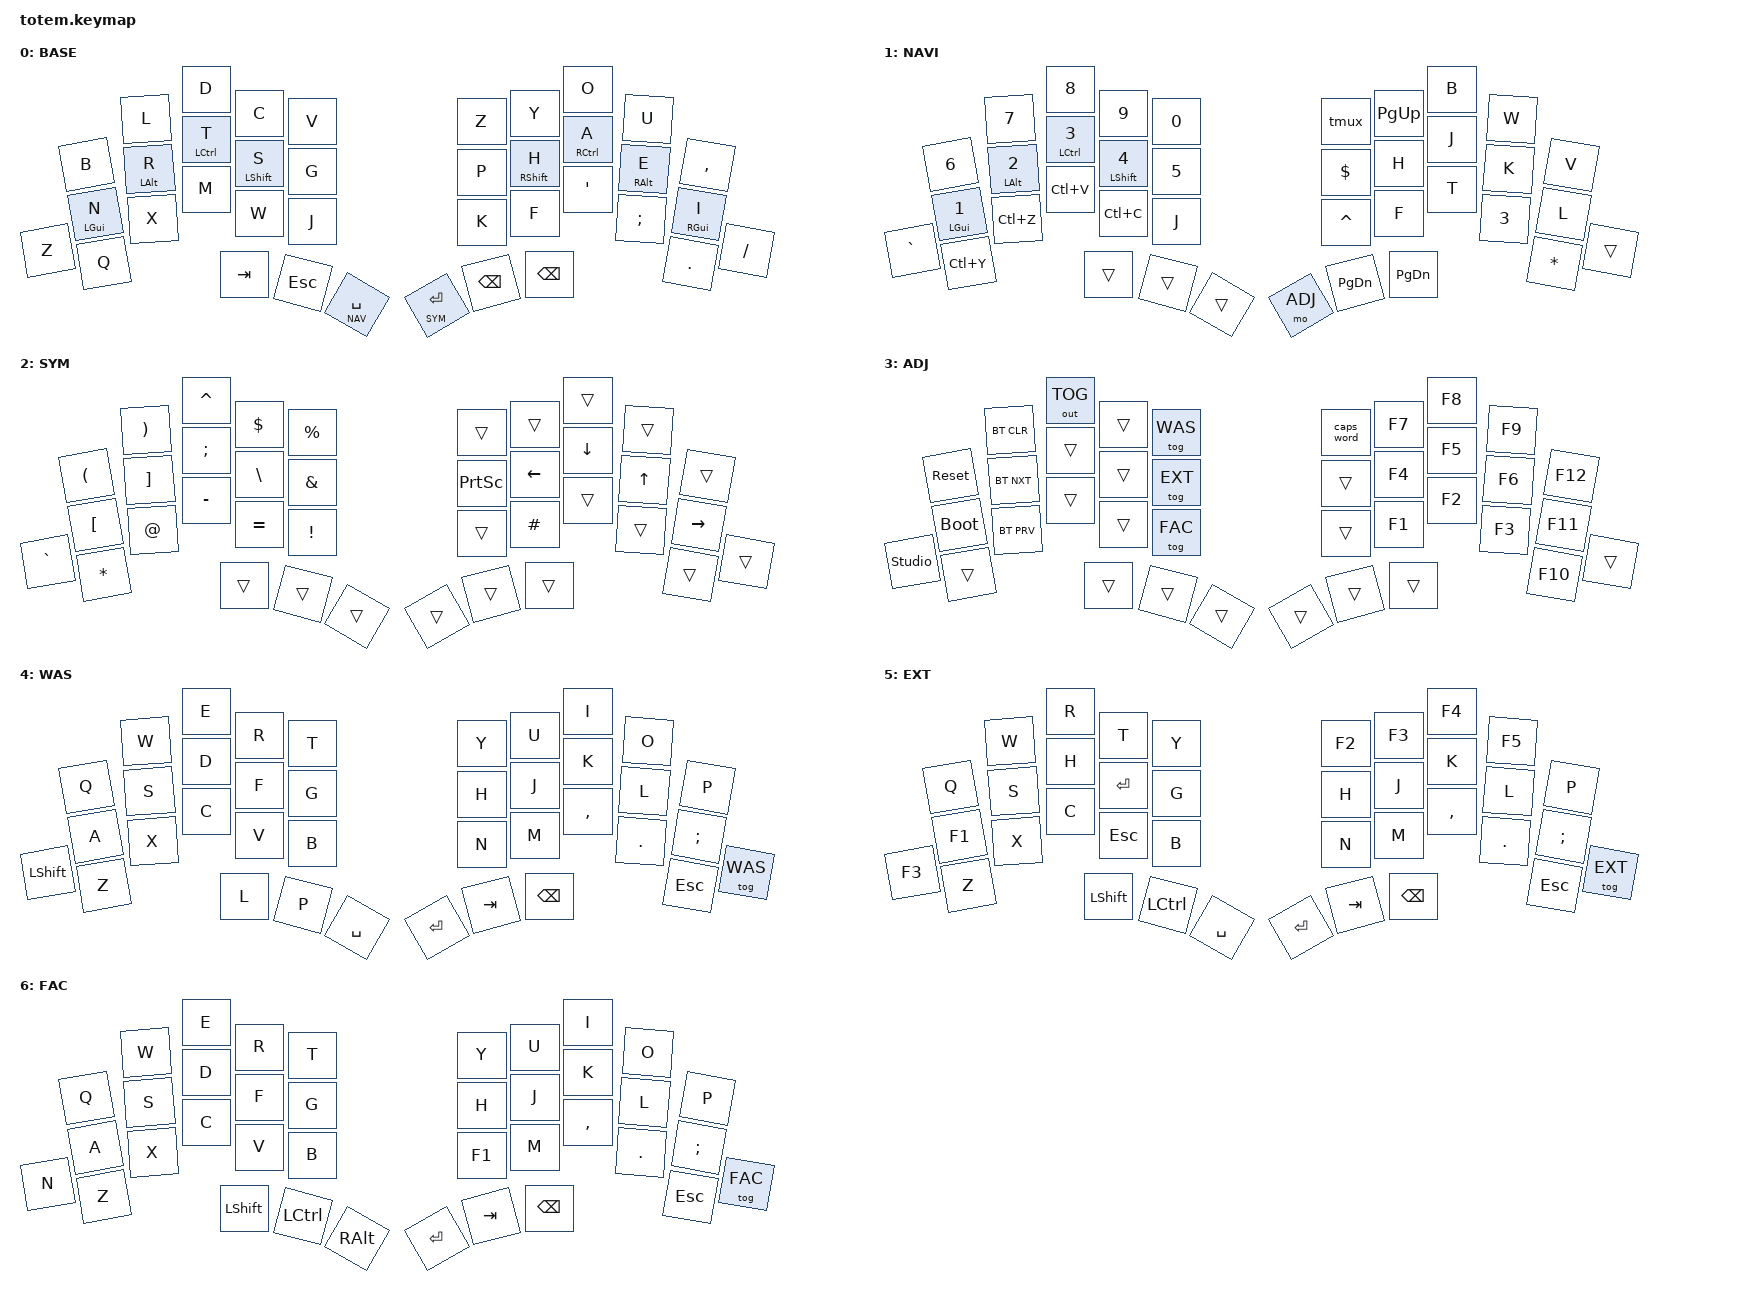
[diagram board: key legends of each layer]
//
//                                                        ▀▀▀▀▀     ▀▀▀▀▀          ▀▀█▀▀
//                                                        ▄▀▀▀▄  ▄  ▄▀▀▀▄  ▄  ▄▀▀▀▄  █  ▄▀▀▀▄
//                                                        █   █  █  █   █  █  █   █  █  █   █
//                                                         ▀▀▀   █   ▀▀▀   █   ▀▀▀   ▀   ▀▀▀
//                                                               █      ▄▄▄█▄▄▄    █   █  
//                                                               ▀      █  █  █     █▄█
//                                                             ▀▀▀▀▀    █  █  █      ▀
//                                                                      ▀  ▀  ▀
//
// ▄▄▄▄▄▄▄▄▄▄▄▄▄▄▄▄▄▄▄▄▄▄▄▄▄▄▄▄▄▄▄▄▄▄▄▄▄▄▄▄▄▄▄▄▄▄▄▄▄▄▄▄▄▄▄▄▄▄▄▄▄▄▄▄▄▄▄▄▄▄▄▄▄▄▄▄▄▄▄▄▄▄▄▄▄▄▄▄▄▄▄▄▄▄▄▄▄▄▄▄▄▄▄▄▄▄▄▄▄▄▄▄▄▄▄▄▄▄▄▄▄▄▄▄▄▄▄▄▄▄▄▄▄▄▄▄▄▄▄▄▄▄▄▄▄▄▄▄▄
       

#include <behaviors.dtsi>
#include <dt-bindings/zmk/keys.h>
#include <dt-bindings/zmk/bt.h>
#include <dt-bindings/zmk/outputs.h>

#define BASE 0
#define NAV  1
#define SYM  2
#define ADJ  3
#define WAS  4
#define EXT  5
#define FAC  6

#define KEYS_L 0 1 2 3 4 10 11 12 13 14 20 21 22 23 24 25
#define KEYS_R 5 6 7 8 9 15 16 17 18 19 26 27 28 29 30 31
#define THUMBS 32 33 34 35 36 37

/* &mt { */
/*   quick-tap-ms = <100>; */
/*   global-quick-tap; */
/*   flavor = "tap-preferred"; */
/*   tapping-term-ms = <170>; */
/* }; */

/ {
    behaviors {
        hml: home_row_mod_left {
            compatible = "zmk,behavior-hold-tap";
            #binding-cells = <2>;
            flavor = "balanced";
            require-prior-idle-ms = <150>;
            tapping-term-ms = <280>;
            quick-tap-ms = <175>;
            bindings = <&kp>, <&kp>;
            hold-trigger-key-positions = <KEYS_L THUMBS>;
            hold-trigger-on-release;
        };
        hmr: home_row_mod_right {
            compatible = "zmk,behavior-hold-tap";
            #binding-cells = <2>;
            flavor = "balanced";
            require-prior-idle-ms = <150>;
            tapping-term-ms = <280>;
            quick-tap-ms = <175>;
            bindings = <&kp>, <&kp>;
            hold-trigger-key-positions = <KEYS_R THUMBS>;
            hold-trigger-on-release;
        };
    };
    combos {

            combo_esc {
                timeout-ms = <50>;
                key-positions = <0 1>;
                bindings = <&kp ESC>;
            };
    };

    macros {
        tmux: tmux {
            label = "tmux";
            compatible = "zmk,behavior-macro";
            #binding-cells = <0>;
            bindings = <&kp LC(N)>;
        };
    };

        keymap {
                compatible = "zmk,keymap";
// ▄▄▄▄▄▄▄▄▄▄▄▄▄▄▄▄▄▄▄▄▄▄▄▄▄▄▄▄▄▄▄▄▄▄▄▄▄▄▄▄▄▄▄▄▄▄▄▄▄▄▄▄▄▄▄▄▄▄▄▄▄▄▄▄▄▄▄▄▄▄▄▄▄▄▄▄▄▄▄▄▄▄▄▄▄▄▄▄▄▄▄▄▄▄▄▄▄▄▄▄▄▄▄▄▄▄▄▄▄▄▄▄▄▄▄▄▄▄▄▄▄▄▄▄▄▄▄▄▄▄▄▄▄▄▄▄▄▄▄▄▄▄▄▄▄▄▄▄▄

                base_layer {
// ┏━━━━━━━━━━━━━━━━━━━━━━━━━━━━━━━━━━━━━━━┓
label= "BASE"                              ;
// ┗━━━━━━━━━━━━━━━━━━━━━━━━━━━━━━━━━━━━━━━┛
//             ┏━━━━━━━━━━━┳━━━━━━━━━━━┳━━━━━━━━━━━┳━━━━━━━━━━━┳━━━━━━━━━━━┓   ┏━━━━━━━━━━━┳━━━━━━━━━━━┳━━━━━━━━━━━┳━━━━━━━━━━━┳━━━━━━━━━━━┓
//             ┃     b     ┃     l     ┃     d     ┃     c     ┃     v     ┃   ┃     Z     ┃     Y     ┃     O     ┃     u     ┃     ,     ┃
//             ┣━━━━━━━━━━━╋━━━━━━━━━━━╋━━━━━━━━━━━╋━━━━━━━━━━━╋━━━━━━━━━━━┫   ┣━━━━━━━━━━━╋━━━━━━━━━━━╋━━━━━━━━━━━╋━━━━━━━━━━━╋━━━━━━━━━━━┫
//             ┃     n     ┃     t     ┃     t     ┃     s     ┃     g     ┃   ┃     P     ┃     H     ┃     A     ┃     E     ┃     i     ┃
// ┏━━━━━━━━━━━╋━━━━━━━━━━━╋━━━━━━━━━━━╋━━━━━━━━━━━╋━━━━━━━━━━━╋━━━━━━━━━━━┫   ┣━━━━━━━━━━━╋━━━━━━━━━━━╋━━━━━━━━━━━╋━━━━━━━━━━━╋━━━━━━━━━━━╋━━━━━━━━━━━┓
// ┃     Z     ┃     q     ┃     m     ┃     m     ┃     w     ┃     j     ┃   ┃     K     ┃     F     ┃     '     ┃     ;     ┃     .     ┃      /    ┃
// ┗━━━━━━━━━━━┻━━━━━━━━━━━┻━━━━━━━━━━━╋━━━━━━━━━━━╋━━━━━━━━━━━╋━━━━━━━━━━━┫   ┣━━━━━━━━━━━╋━━━━━━━━━━━╋━━━━━━━━━━━╋━━━━━━━━━━━┻━━━━━━━━━━━┻━━━━━━━━━━━┛
//                                     ┃    TAB    ┃    ESC    ┃    SPC    ┃   ┃   ENTER   ┃   BSPC    ┃           ┃
//                                     ┗━━━━━━━━━━━┻━━━━━━━━━━━┻━━━━━━━━━━━┛   ┗━━━━━━━━━━━┻━━━━━━━━━━━┻━━━━━━━━━━━┛
 bindings = <
// ╷           ╷           ╷           ╷           ╷           ╷           ╷   ╷           ╷           ╷           ╷           ╷           ╷           ╷

                &kp B       &kp L       &kp D       &kp C       &kp V           &kp Z       &kp Y       &kp O       &kp U       &kp COMMA
                &hml LGUI N  &hml LALT R  &hml LCTRL T &hml LSHFT S &kp G           &kp P       &hmr RSHFT H &hmr RCTRL A &hmr RALT E  &hmr RGUI I
    &kp Z       &kp Q       &kp X       &kp M       &kp W       &kp J           &kp K       &kp F       &kp SQT     &kp SEMI    &kp DOT    &kp FSLH
                                        &kp TAB     &kp ESC     &lt NAV SPACE   &lt SYM RET &kp BSPC    &kp BSPC
                        >;
                };

// ▄▄▄▄▄▄▄▄▄▄▄▄▄▄▄▄▄▄▄▄▄▄▄▄▄▄▄▄▄▄▄▄▄▄▄▄▄▄▄▄▄▄▄▄▄▄▄▄▄▄▄▄▄▄▄▄▄▄▄▄▄▄▄▄▄▄▄▄▄▄▄▄▄▄▄▄▄▄▄▄▄▄▄▄▄▄▄▄▄▄▄▄▄▄▄▄▄▄▄▄▄▄▄▄▄▄▄▄▄▄▄▄▄▄▄▄▄▄▄▄▄▄▄▄▄▄▄▄▄▄▄▄▄▄▄▄▄▄▄▄▄▄▄▄▄▄▄▄▄


                nav_layer {
// ┏━━━━━━━━━━━━━━━━━━━━━━━━━━━━━━━━━━━━━━━┓
label= "NAVI"                              ;
// ┗━━━━━━━━━━━━━━━━━━━━━━━━━━━━━━━━━━━━━━━┛
//             ┏━━━━━━━━━━━┳━━━━━━━━━━━┳━━━━━━━━━━━┳━━━━━━━━━━━┳━━━━━━━━━━━┓   ┏━━━━━━━━━━━┳━━━━━━━━━━━┳━━━━━━━━━━━┳━━━━━━━━━━━┳━━━━━━━━━━━┓
//             ┃      6    ┃     7     ┃     8     ┃     9     ┃     0     ┃   ┃   tmux    ┃ PG_UP     ┃     b     ┃     w     ┃     v     ┃
//             ┣━━━━━━━━━━━╋━━━━━━━━━━━╋━━━━━━━━━━━╋━━━━━━━━━━━╋━━━━━━━━━━━┫   ┣━━━━━━━━━━━╋━━━━━━━━━━━╋━━━━━━━━━━━╋━━━━━━━━━━━╋━━━━━━━━━━━┫
//             ┃   1       ┃   2       ┃    3      ┃   4       ┃     5     ┃   ┃     $     ┃     h     ┃     j     ┃     k     ┃     l     ┃
// ┏━━━━━━━━━━━╋━━━━━━━━━━━╋━━━━━━━━━━━╋━━━━━━━━━━━╋━━━━━━━━━━━╋━━━━━━━━━━━┫   ┣━━━━━━━━━━━╋━━━━━━━━━━━╋━━━━━━━━━━━╋━━━━━━━━━━━╋━━━━━━━━━━━╋━━━━━━━━━━━┓
// ┃     `     ┃   REDO    ┃  UNDO     ┃    PASTE  ┃  COPY     ┃     (     ┃   ┃     ^     ┃     f     ┃     t     ┃     w     ┃     *     ┃           ┃
// ┗━━━━━━━━━━━┻━━━━━━━━━━━┻━━━━━━━━━━━╋━━━━━━━━━━━╋━━━━━━━━━━━╋━━━━━━━━━━━┫   ┣━━━━━━━━━━━╋━━━━━━━━━━━╋━━━━━━━━━━━╋━━━━━━━━━━━┻━━━━━━━━━━━┻━━━━━━━━━━━┛
//                                     ┃           ┃           ┃           ┃   ┃           ┃  PG_DN    ┃           ┃
//                                     ┗━━━━━━━━━━━┻━━━━━━━━━━━┻━━━━━━━━━━━┛   ┗━━━━━━━━━━━┻━━━━━━━━━━━┻━━━━━━━━━━━┛
 bindings = <
// ╷           ╷           ╷           ╷           ╷           ╷           ╷   ╷           ╷           ╷           ╷           ╷           ╷           ╷

                &kp N6       &kp N7       &kp N8       &kp N9       &kp N0           &tmux         &kp PG_UP   &kp B       &kp W     &kp V
                &hml LGUI N1 &hml LALT N2 &hml LCTRL N3 &hml LSHFT N4 &kp N5         &kp DOLLAR    &kp H       &kp J       &kp K     &kp L 
    &kp GRAVE   &kp LC(Y)    &kp LC(Z)    &kp LC(V)    &kp LC(C)    &kp J            &kp CARET     &kp F       &kp T       &kp N3    &kp STAR      &trans      
                                          &trans       &trans       &trans           &mo ADJ       &kp PG_DN   &kp PG_DN                           
                        >;                                                                                                                         
                };                                                                                                                                 

// ▄▄▄▄▄▄▄▄▄▄▄▄▄▄▄▄▄▄▄▄▄▄▄▄▄▄▄▄▄▄▄▄▄▄▄▄▄▄▄▄▄▄▄▄▄▄▄▄▄▄▄▄▄▄▄▄▄▄▄▄▄▄▄▄▄▄▄▄▄▄▄▄▄▄▄▄▄▄▄▄▄▄▄▄▄▄▄▄▄▄▄▄▄▄▄▄▄▄▄▄▄▄▄▄▄▄▄▄▄▄▄▄▄▄▄▄▄▄▄▄▄▄▄▄▄▄▄▄▄▄▄▄▄▄▄▄▄▄▄▄▄▄▄▄▄▄▄▄▄


                sim_layer {
// ┏━━━━━━━━━━━━━━━━━━━━━━━━━━━━━━━━━━━━━━━┓
label= "SYM"                               ;
// ┗━━━━━━━━━━━━━━━━━━━━━━━━━━━━━━━━━━━━━━━┛
//             ┏━━━━━━━━━━━┳━━━━━━━━━━━┳━━━━━━━━━━━┳━━━━━━━━━━━┳━━━━━━━━━━━┓   ┏━━━━━━━━━━━┳━━━━━━━━━━━┳━━━━━━━━━━━┳━━━━━━━━━━━┳━━━━━━━━━━━┓
//             ┃     (     ┃     )     ┃     ^     ┃     $     ┃     %     ┃   ┃           ┃           ┃           ┃           ┃           ┃
//             ┣━━━━━━━━━━━╋━━━━━━━━━━━╋━━━━━━━━━━━╋━━━━━━━━━━━╋━━━━━━━━━━━┫   ┣━━━━━━━━━━━╋━━━━━━━━━━━╋━━━━━━━━━━━╋━━━━━━━━━━━╋━━━━━━━━━━━┫
//             ┃     [     ┃     ]     ┃     ;     ┃     \     ┃     &     ┃   ┃   prsc    ┃    left   ┃   down    ┃  up       ┃  right    ┃
// ┏━━━━━━━━━━━╋━━━━━━━━━━━╋━━━━━━━━━━━╋━━━━━━━━━━━╋━━━━━━━━━━━╋━━━━━━━━━━━┫   ┣━━━━━━━━━━━╋━━━━━━━━━━━╋━━━━━━━━━━━╋━━━━━━━━━━━╋━━━━━━━━━━━╋━━━━━━━━━━━┓
// ┃     `     ┃     *     ┃     @     ┃     -     ┃     =     ┃     !     ┃   ┃           ┃   hash    ┃           ┃           ┃           ┃           ┃
// ┗━━━━━━━━━━━┻━━━━━━━━━━━┻━━━━━━━━━━━╋━━━━━━━━━━━╋━━━━━━━━━━━╋━━━━━━━━━━━┫   ┣━━━━━━━━━━━╋━━━━━━━━━━━╋━━━━━━━━━━━╋━━━━━━━━━━━┻━━━━━━━━━━━┻━━━━━━━━━━━┛
//                                     ┃           ┃           ┃           ┃   ┃           ┃           ┃           ┃
//                                     ┗━━━━━━━━━━━┻━━━━━━━━━━━┻━━━━━━━━━━━┛   ┗━━━━━━━━━━━┻━━━━━━━━━━━┻━━━━━━━━━━━┛
 bindings = <
// ╷           ╷           ╷           ╷           ╷           ╷           ╷   ╷           ╷           ╷           ╷           ╷           ╷           ╷

                &kp LEFT_PARENTHESIS    &kp RIGHT_PARENTHESIS  &kp CARET    &kp DOLLAR    &kp PRCNT                     &trans           &trans     &trans     &trans     &trans       
                &kp LEFT_BRACKET        &kp RIGHT_BRACKET      &kp SEMI     &kp BSLH      &kp AMPERSAND                 &kp PRINTSCREEN  &kp LEFT   &kp DOWN   &kp UP    &kp RIGHT 
    &kp GRAVE   &kp STAR                &kp AT                 &kp MINUS    &kp EQUAL     &kp EXCLAMATION               &trans           &kp HASH   &trans     &trans    &trans     &trans        
                                                               &trans       &trans        &trans                        &trans           &trans     &trans      
                        >;
                };

// ▄▄▄▄▄▄▄▄▄▄▄▄▄▄▄▄▄▄▄▄▄▄▄▄▄▄▄▄▄▄▄▄▄▄▄▄▄▄▄▄▄▄▄▄▄▄▄▄▄▄▄▄▄▄▄▄▄▄▄▄▄▄▄▄▄▄▄▄▄▄▄▄▄▄▄▄▄▄▄▄▄▄▄▄▄▄▄▄▄▄▄▄▄▄▄▄▄▄▄▄▄▄▄▄▄▄▄▄▄▄▄▄▄▄▄▄▄▄▄▄▄▄▄▄▄▄▄▄▄▄▄▄▄▄▄▄▄▄▄▄▄▄▄▄▄▄▄▄▄


                adjust_layer {
// ┏━━━━━━━━━━━━━━━━━━━━━━━━━━━━━━━━━━━━━━━┓
label= "ADJ"                               ;
//             ┏━━━━━━━━━━━┳━━━━━━━━━━━┳━━━━━━━━━━━┳━━━━━━━━━━━┳━━━━━━━━━━━┓   ┏━━━━━━━━━━━┳━━━━━━━━━━━┳━━━━━━━━━━━┳━━━━━━━━━━━┳━━━━━━━━━━━┓
//             ┃   RESET   ┃ BT CLEAR  ┃  OUT TOG  ┃           ┃    WAS    ┃   ┃   caps    ┃    F7     ┃    F8     ┃    F9     ┃    F12    ┃
//             ┣━━━━━━━━━━━╋━━━━━━━━━━━╋━━━━━━━━━━━╋━━━━━━━━━━━╋━━━━━━━━━━━┫   ┣━━━━━━━━━━━╋━━━━━━━━━━━╋━━━━━━━━━━━╋━━━━━━━━━━━╋━━━━━━━━━━━┫
//             ┃ BOOTLOAD  ┃ BT NEXT   ┃           ┃           ┃    EXT    ┃   ┃           ┃    F4     ┃    F5     ┃    F6     ┃    F11    ┃
// ┏━━━━━━━━━━━╋━━━━━━━━━━━╋━━━━━━━━━━━╋━━━━━━━━━━━╋━━━━━━━━━━━╋━━━━━━━━━━━┫   ┣━━━━━━━━━━━╋━━━━━━━━━━━╋━━━━━━━━━━━╋━━━━━━━━━━━╋━━━━━━━━━━━╋━━━━━━━━━━━┓
// ┃  UNLOCK   ┃           ┃ BT PREV   ┃           ┃           ┃    FAC    ┃   ┃           ┃    F1     ┃    F2     ┃    F3     ┃    F10    ┃           ┃
// ┗━━━━━━━━━━━┻━━━━━━━━━━━┻━━━━━━━━━━━╋━━━━━━━━━━━╋━━━━━━━━━━━╋━━━━━━━━━━━┫   ┣━━━━━━━━━━━╋━━━━━━━━━━━╋━━━━━━━━━━━╋━━━━━━━━━━━┻━━━━━━━━━━━┻━━━━━━━━━━━┛
//                                     ┃           ┃           ┃           ┃   ┃           ┃           ┃           ┃
//                                     ┗━━━━━━━━━━━┻━━━━━━━━━━━┻━━━━━━━━━━━┛   ┗━━━━━━━━━━━┻━━━━━━━━━━━┻━━━━━━━━━━━┛
 bindings = <
// ╷           ╷           ╷           ╷           ╷           ╷           ╷   ╷           ╷           ╷           ╷           ╷           ╷           ╷

                   &sys_reset  &bt BT_CLR   &out OUT_TOG &trans      &tog WAS        &caps_word  &kp F7      &kp F8      &kp F9      &kp F12
                   &bootloader &bt BT_NXT   &trans       &trans      &tog EXT        &trans      &kp F4      &kp F5      &kp F6      &kp F11  
    &studio_unlock &trans      &bt BT_PRV   &trans       &trans      &tog FAC        &trans      &kp F1      &kp F2      &kp F3      &kp F10     &trans         
                                            &trans       &trans      &trans          &trans      &trans      &trans      
                        >;
                };

// ▄▄▄▄▄▄▄▄▄▄▄▄▄▄▄▄▄▄▄▄▄▄▄▄▄▄▄▄▄▄▄▄▄▄▄▄▄▄▄▄▄▄▄▄▄▄▄▄▄▄▄▄▄▄▄▄▄▄▄▄▄▄▄▄▄▄▄▄▄▄▄▄▄▄▄▄▄▄▄▄▄▄▄▄▄▄▄▄▄▄▄▄▄▄▄▄▄▄▄▄▄▄▄▄▄▄▄▄▄▄▄▄▄▄▄▄▄▄▄▄▄▄▄▄▄▄▄▄▄▄▄▄▄▄▄▄▄▄▄▄▄▄▄▄▄▄▄▄▄

                was_layer {
// ┏━━━━━━━━━━━━━━━━━━━━━━━━━━━━━━━━━━━━━━━┓
label= "WAS"                              ;
// ┗━━━━━━━━━━━━━━━━━━━━━━━━━━━━━━━━━━━━━━━┛
//             ┏━━━━━━━━━━━┳━━━━━━━━━━━┳━━━━━━━━━━━┳━━━━━━━━━━━┳━━━━━━━━━━━┓   ┏━━━━━━━━━━━┳━━━━━━━━━━━┳━━━━━━━━━━━┳━━━━━━━━━━━┳━━━━━━━━━━━┓
//             ┃     Q     ┃     W     ┃     E     ┃     R     ┃     T     ┃   ┃     Y     ┃     U     ┃     I     ┃     O     ┃     P     ┃
//             ┣━━━━━━━━━━━╋━━━━━━━━━━━╋━━━━━━━━━━━╋━━━━━━━━━━━╋━━━━━━━━━━━┫   ┣━━━━━━━━━━━╋━━━━━━━━━━━╋━━━━━━━━━━━╋━━━━━━━━━━━╋━━━━━━━━━━━┫
//             ┃     A     ┃     S     ┃     D     ┃     F     ┃     G     ┃   ┃     H     ┃     J     ┃     K     ┃     L     ┃     ;     ┃
// ┏━━━━━━━━━━━╋━━━━━━━━━━━╋━━━━━━━━━━━╋━━━━━━━━━━━╋━━━━━━━━━━━╋━━━━━━━━━━━┫   ┣━━━━━━━━━━━╋━━━━━━━━━━━╋━━━━━━━━━━━╋━━━━━━━━━━━╋━━━━━━━━━━━╋━━━━━━━━━━━┓
// ┃  LSHFT    ┃     Z     ┃     X     ┃     C     ┃     V     ┃     B     ┃   ┃     N     ┃     M     ┃     ,     ┃     .     ┃   esc     ┃    WAS    ┃
// ┗━━━━━━━━━━━┻━━━━━━━━━━━┻━━━━━━━━━━━╋━━━━━━━━━━━╋━━━━━━━━━━━╋━━━━━━━━━━━┫   ┣━━━━━━━━━━━╋━━━━━━━━━━━╋━━━━━━━━━━━╋━━━━━━━━━━━┻━━━━━━━━━━━┻━━━━━━━━━━━┛
//                                     ┃           ┃           ┃           ┃   ┃           ┃    tab    ┃           ┃
//                                     ┗━━━━━━━━━━━┻━━━━━━━━━━━┻━━━━━━━━━━━┛   ┗━━━━━━━━━━━┻━━━━━━━━━━━┻━━━━━━━━━━━┛
 bindings = <
// ╷           ╷           ╷           ╷           ╷           ╷           ╷   ╷           ╷           ╷           ╷           ╷           ╷           ╷

                &kp Q       &kp W       &kp E       &kp R       &kp T           &kp Y       &kp U       &kp I       &kp O       &kp P
                &kp A       &kp S       &kp D       &kp F       &kp G           &kp H       &kp J       &kp K       &kp L       &kp SEMI
    &kp LSHFT   &kp Z       &kp X       &kp C       &kp V       &kp B           &kp N       &kp M       &kp COMMA   &kp DOT     &kp ESC    &tog WAS
                                        &kp L       &kp P       &kp SPACE       &kp RET     &kp TAB     &kp BSPC
                        >;
                };

// ▄▄▄▄▄▄▄▄▄▄▄▄▄▄▄▄▄▄▄▄▄▄▄▄▄▄▄▄▄▄▄▄▄▄▄▄▄▄▄▄▄▄▄▄▄▄▄▄▄▄▄▄▄▄▄▄▄▄▄▄▄▄▄▄▄▄▄▄▄▄▄▄▄▄▄▄▄▄▄▄▄▄▄▄▄▄▄▄▄▄▄▄▄▄▄▄▄▄▄▄▄▄▄▄▄▄▄▄▄▄▄▄▄▄▄▄▄▄▄▄▄▄▄▄▄▄▄▄▄▄▄▄▄▄▄▄▄▄▄▄▄▄▄▄▄▄▄▄▄




                ext_layer {
// ┏━━━━━━━━━━━━━━━━━━━━━━━━━━━━━━━━━━━━━━━┓
label= "EXT"                              ;
// ┗━━━━━━━━━━━━━━━━━━━━━━━━━━━━━━━━━━━━━━━┛
//             ┏━━━━━━━━━━━┳━━━━━━━━━━━┳━━━━━━━━━━━┳━━━━━━━━━━━┳━━━━━━━━━━━┓   ┏━━━━━━━━━━━┳━━━━━━━━━━━┳━━━━━━━━━━━┳━━━━━━━━━━━┳━━━━━━━━━━━┓
//             ┃     Q     ┃     W     ┃     R     ┃     T     ┃     Y     ┃   ┃     f2    ┃     f3    ┃     f4    ┃    f5     ┃     P     ┃
//             ┣━━━━━━━━━━━╋━━━━━━━━━━━╋━━━━━━━━━━━╋━━━━━━━━━━━╋━━━━━━━━━━━┫   ┣━━━━━━━━━━━╋━━━━━━━━━━━╋━━━━━━━━━━━╋━━━━━━━━━━━╋━━━━━━━━━━━┫
//             ┃     F1    ┃     S     ┃     h     ┃   RET     ┃     G     ┃   ┃     H     ┃     J     ┃     K     ┃     L     ┃     ;     ┃
// ┏━━━━━━━━━━━╋━━━━━━━━━━━╋━━━━━━━━━━━╋━━━━━━━━━━━╋━━━━━━━━━━━╋━━━━━━━━━━━┫   ┣━━━━━━━━━━━╋━━━━━━━━━━━╋━━━━━━━━━━━╋━━━━━━━━━━━╋━━━━━━━━━━━╋━━━━━━━━━━━┓
// ┃  F2       ┃     Z     ┃     X     ┃     C     ┃   ESC     ┃     B     ┃   ┃     N     ┃     M     ┃     ,     ┃     .     ┃   esc     ┃    ext    ┃
// ┗━━━━━━━━━━━┻━━━━━━━━━━━┻━━━━━━━━━━━╋━━━━━━━━━━━╋━━━━━━━━━━━╋━━━━━━━━━━━┫   ┣━━━━━━━━━━━╋━━━━━━━━━━━╋━━━━━━━━━━━╋━━━━━━━━━━━┻━━━━━━━━━━━┻━━━━━━━━━━━┛
//                                     ┃           ┃           ┃           ┃   ┃           ┃    tab    ┃           ┃
//                                     ┗━━━━━━━━━━━┻━━━━━━━━━━━┻━━━━━━━━━━━┛   ┗━━━━━━━━━━━┻━━━━━━━━━━━┻━━━━━━━━━━━┛
 bindings = <
// ╷           ╷           ╷           ╷           ╷           ╷           ╷   ╷           ╷           ╷           ╷           ╷           ╷           ╷

                &kp Q       &kp W       &kp R       &kp T       &kp Y           &kp F2      &kp F3      &kp F4      &kp F5      &kp P
                &kp F1      &kp S       &kp H       &kp RET     &kp G           &kp H       &kp J       &kp K       &kp L       &kp SEMI
    &kp F3      &kp Z       &kp X       &kp C       &kp ESC     &kp B           &kp N       &kp M       &kp COMMA   &kp DOT     &kp ESC    &tog EXT
                                        &kp LSHFT   &kp LCTRL   &kp SPACE       &kp RET     &kp TAB     &kp BSPC
                        >;
                };

// ▄▄▄▄▄▄▄▄▄▄▄▄▄▄▄▄▄▄▄▄▄▄▄▄▄▄▄▄▄▄▄▄▄▄▄▄▄▄▄▄▄▄▄▄▄▄▄▄▄▄▄▄▄▄▄▄▄▄▄▄▄▄▄▄▄▄▄▄▄▄▄▄▄▄▄▄▄▄▄▄▄▄▄▄▄▄▄▄▄▄▄▄▄▄▄▄▄▄▄▄▄▄▄▄▄▄▄▄▄▄▄▄▄▄▄▄▄▄▄▄▄▄▄▄▄▄▄▄▄▄▄▄▄▄▄▄▄▄▄▄▄▄▄▄▄▄▄▄▄


                fac_layer {
// ┏━━━━━━━━━━━━━━━━━━━━━━━━━━━━━━━━━━━━━━━┓
label= "FAC"                              ;
// ┗━━━━━━━━━━━━━━━━━━━━━━━━━━━━━━━━━━━━━━━┛
//             ┏━━━━━━━━━━━┳━━━━━━━━━━━┳━━━━━━━━━━━┳━━━━━━━━━━━┳━━━━━━━━━━━┓   ┏━━━━━━━━━━━┳━━━━━━━━━━━┳━━━━━━━━━━━┳━━━━━━━━━━━┳━━━━━━━━━━━┓
//             ┃     Q     ┃     W     ┃     R     ┃     T     ┃     Y     ┃   ┃     f2    ┃     f3    ┃     f4    ┃    f5     ┃     P     ┃
//             ┣━━━━━━━━━━━╋━━━━━━━━━━━╋━━━━━━━━━━━╋━━━━━━━━━━━╋━━━━━━━━━━━┫   ┣━━━━━━━━━━━╋━━━━━━━━━━━╋━━━━━━━━━━━╋━━━━━━━━━━━╋━━━━━━━━━━━┫
//             ┃     F1    ┃     S     ┃     h     ┃   RET     ┃     G     ┃   ┃     H     ┃     J     ┃     K     ┃     L     ┃     ;     ┃
// ┏━━━━━━━━━━━╋━━━━━━━━━━━╋━━━━━━━━━━━╋━━━━━━━━━━━╋━━━━━━━━━━━╋━━━━━━━━━━━┫   ┣━━━━━━━━━━━╋━━━━━━━━━━━╋━━━━━━━━━━━╋━━━━━━━━━━━╋━━━━━━━━━━━╋━━━━━━━━━━━┓
// ┃  F2       ┃     Z     ┃     X     ┃     C     ┃   ESC     ┃     B     ┃   ┃     N     ┃     M     ┃     ,     ┃     .     ┃   esc     ┃    ext    ┃
// ┗━━━━━━━━━━━┻━━━━━━━━━━━┻━━━━━━━━━━━╋━━━━━━━━━━━╋━━━━━━━━━━━╋━━━━━━━━━━━┫   ┣━━━━━━━━━━━╋━━━━━━━━━━━╋━━━━━━━━━━━╋━━━━━━━━━━━┻━━━━━━━━━━━┻━━━━━━━━━━━┛
//                                     ┃           ┃           ┃           ┃   ┃           ┃    tab    ┃           ┃
//                                     ┗━━━━━━━━━━━┻━━━━━━━━━━━┻━━━━━━━━━━━┛   ┗━━━━━━━━━━━┻━━━━━━━━━━━┻━━━━━━━━━━━┛
 bindings = <
// ╷           ╷           ╷           ╷           ╷           ╷           ╷   ╷           ╷           ╷           ╷           ╷           ╷           ╷

                &kp Q       &kp W       &kp E       &kp R       &kp T           &kp Y       &kp U       &kp I       &kp O       &kp P
                &kp A       &kp S       &kp D       &kp F       &kp G           &kp H       &kp J       &kp K       &kp L       &kp SEMI
    &kp N       &kp Z       &kp X       &kp C       &kp V       &kp B           &kp F1      &kp M       &kp COMMA   &kp DOT     &kp ESC    &tog FAC
                                        &kp LSHFT   &kp LCTRL   &kp RALT        &kp RET     &kp TAB     &kp BSPC
                        >;
                };

// ▄▄▄▄▄▄▄▄▄▄▄▄▄▄▄▄▄▄▄▄▄▄▄▄▄▄▄▄▄▄▄▄▄▄▄▄▄▄▄▄▄▄▄▄▄▄▄▄▄▄▄▄▄▄▄▄▄▄▄▄▄▄▄▄▄▄▄▄▄▄▄▄▄▄▄▄▄▄▄▄▄▄▄▄▄▄▄▄▄▄▄▄▄▄▄▄▄▄▄▄▄▄▄▄▄▄▄▄▄▄▄▄▄▄▄▄▄▄▄▄▄▄▄▄▄▄▄▄▄▄▄▄▄▄▄▄▄▄▄▄▄▄▄▄▄▄▄▄▄
        };
};
